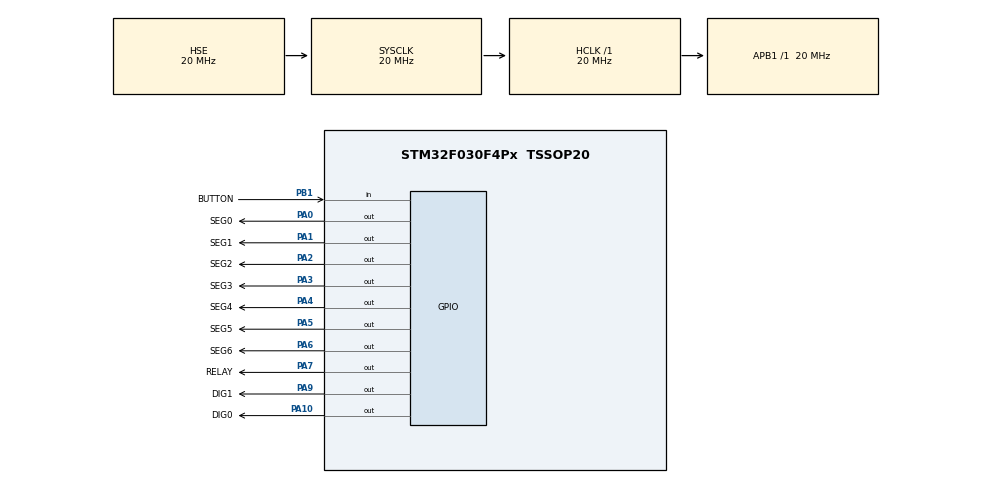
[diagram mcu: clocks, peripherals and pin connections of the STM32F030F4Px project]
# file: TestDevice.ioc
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Mcu.Family=STM32F0
Mcu.Name=STM32F030F4Px
Mcu.Package=TSSOP20
NVIC.TIM14_IRQn=true\:0\:0\:false\:false\:true\:true\:true\:true
PA0.GPIO_Label=SEG0
PA0.PinState=GPIO_PIN_SET
PA0.Signal=GPIO_Output
PA1.GPIO_Label=SEG1
PA1.PinState=GPIO_PIN_SET
PA1.Signal=GPIO_Output
PA10.GPIO_Label=DIG0
PA10.GPIO_PuPd=GPIO_PULLDOWN
PA10.Signal=GPIO_Output
PA13.Mode=Serial_Wire
PA13.Signal=SYS_SWDIO
PA14.Mode=Serial_Wire
PA14.Signal=SYS_SWCLK
PA2.GPIO_Label=SEG2
PA2.PinState=GPIO_PIN_SET
PA2.Signal=GPIO_Output
PA3.GPIO_Label=SEG3
PA3.PinState=GPIO_PIN_SET
PA3.Signal=GPIO_Output
PA4.GPIO_Label=SEG4
PA4.PinState=GPIO_PIN_SET
PA4.Signal=GPIO_Output
PA5.GPIO_Label=SEG5
PA5.PinState=GPIO_PIN_SET
PA5.Signal=GPIO_Output
PA6.GPIO_Label=SEG6
PA6.PinState=GPIO_PIN_SET
PA6.Signal=GPIO_Output
PA7.GPIO_Label=RELAY
PA7.Signal=GPIO_Output
PA9.GPIO_Label=DIG1
PA9.GPIO_PuPd=GPIO_PULLDOWN
PA9.PinState=GPIO_PIN_RESET
PA9.Signal=GPIO_Output
PB1.GPIO_Label=BUTTON
PB1.Signal=GPIO_Input
PF0-OSC_IN.Mode=HSE-External-Oscillator
PF0-OSC_IN.Signal=RCC_OSC_IN
PF1-OSC_OUT.Mode=HSE-External-Oscillator
PF1-OSC_OUT.Signal=RCC_OSC_OUT
ProjectManager.HeapSize=0x200
ProjectManager.StackSize=0x400
ProjectManager.TargetToolchain=STM32CubeIDE
RCC.AHBFreq_Value=20000000
RCC.APB1Freq_Value=20000000
RCC.APB1TimFreq_Value=20000000
RCC.HCLKFreq_Value=20000000
RCC.HSE_VALUE=20000000
RCC.SYSCLKFreq_VALUE=20000000
RCC.SYSCLKSource=RCC_SYSCLKSOURCE_HSE
TIM14.AutoReloadPreload=TIM_AUTORELOAD_PRELOAD_DISABLE
VP_TIM14_VS_ClockSourceINT.Mode=Enable_Timer
board=custom

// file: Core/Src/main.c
/* USER CODE BEGIN Header */
/**
  ******************************************************************************
  * @file           : main.c
  * @brief          : Main program body
  ******************************************************************************
  * @attention
  *
  * Copyright (c) 2026 STMicroelectronics.
  * All rights reserved.
  *
  * This software is licensed under terms that can be found in the LICENSE file
  * in the root directory of this software component.
  * If no LICENSE file comes with this software, it is provided AS-IS.
  *
  ******************************************************************************
  */
/* USER CODE END Header */
#include "main.h"

TIM_HandleTypeDef htim14;

void SystemClock_Config(void);
static void MX_GPIO_Init(void);
static void MX_TIM14_Init(void);

/* USER CODE BEGIN 0 */

static int digitInUse = 0;
static int buttonStatus = 1;
static int buttonPrevStatus = 1;
static int buttonStatusChanged = 0;
static int buttonPressCounter = 0;
static int buttonReleaseCounter = 0;
static int generalCounter = 0;
static int relayCounter = 0;
static int state = 0;
volatile int second = 0;
static const int BUTTON_DEBOUNCE = 1000;

typedef enum
{
	DIGIT_0 = 0,
	DIGIT_1,
	DIGIT_2,
	DIGIT_3,
	DIGIT_4,
	DIGIT_5,
	DIGIT_6,
	DIGIT_7,
	DIGIT_8,
	DIGIT_9
}Digit7Seg_t;

static void printDigit7Seg(Digit7Seg_t digit);
static void Timer_Start(void);
static void Timer_Stop(void);
static int Timer_IsRunning(void);

/* USER CODE END 0 */

int main(void)
{

  /* MCU Configuration--------------------------------------------------------*/

  /* Reset of all peripherals, Initializes the Flash interface and the Systick. */
  HAL_Init();

  /* Configure the system clock */
  SystemClock_Config();

  /* Initialize all configured peripherals */
  MX_GPIO_Init();
  MX_TIM14_Init();
  /* USER CODE BEGIN 2 */
  HAL_GPIO_WritePin(SEG0_GPIO_Port, SEG0_Pin, GPIO_PIN_RESET);
  HAL_GPIO_WritePin(SEG1_GPIO_Port, SEG1_Pin, GPIO_PIN_RESET);
  HAL_GPIO_WritePin(SEG2_GPIO_Port, SEG2_Pin, GPIO_PIN_RESET);
  HAL_GPIO_WritePin(SEG3_GPIO_Port, SEG3_Pin, GPIO_PIN_RESET);
  HAL_GPIO_WritePin(SEG4_GPIO_Port, SEG4_Pin, GPIO_PIN_RESET);
  HAL_GPIO_WritePin(SEG5_GPIO_Port, SEG5_Pin, GPIO_PIN_RESET);
  HAL_GPIO_WritePin(SEG6_GPIO_Port, SEG6_Pin, GPIO_PIN_RESET);
  HAL_GPIO_WritePin(DIG0_GPIO_Port, DIG0_Pin, GPIO_PIN_RESET);
  HAL_GPIO_WritePin(DIG1_GPIO_Port, DIG1_Pin, GPIO_PIN_RESET);
  HAL_GPIO_WritePin(RELAY_GPIO_Port, RELAY_Pin, GPIO_PIN_RESET);

  generalCounter = 60;

  Digit7Seg_t Digit0 = DIGIT_6;
  Digit7Seg_t Digit1 = DIGIT_0;

  /* USER CODE END 2 */

  /* Infinite loop */
  /* USER CODE BEGIN 3 */
  /* USER CODE BEGIN WHILE */
  while (1)
  {
	  if (second)
	  {
		  second = 0;
	  }

	  if(digitInUse)
	  {
		  HAL_GPIO_WritePin(DIG0_GPIO_Port, DIG0_Pin, GPIO_PIN_RESET);
		  HAL_GPIO_WritePin(DIG1_GPIO_Port, DIG1_Pin, GPIO_PIN_RESET);

		  printDigit7Seg(Digit0);

		  HAL_GPIO_WritePin(DIG0_GPIO_Port, DIG0_Pin, GPIO_PIN_SET);
		  HAL_GPIO_WritePin(DIG1_GPIO_Port, DIG1_Pin, GPIO_PIN_RESET);

		  digitInUse = 0;
	  }
	  else
	  {
		  HAL_GPIO_WritePin(DIG0_GPIO_Port, DIG0_Pin, GPIO_PIN_RESET);
		  HAL_GPIO_WritePin(DIG1_GPIO_Port, DIG1_Pin, GPIO_PIN_RESET);

		  printDigit7Seg(Digit1);

		  HAL_GPIO_WritePin(DIG0_GPIO_Port, DIG0_Pin, GPIO_PIN_RESET);
		  HAL_GPIO_WritePin(DIG1_GPIO_Port, DIG1_Pin, GPIO_PIN_SET);

		  digitInUse = 1;
	  }

	  if(GPIO_PIN_SET == HAL_GPIO_ReadPin(BUTTON_GPIO_Port, BUTTON_Pin))
	  {
		  buttonReleaseCounter = 0;

		  if(buttonPressCounter > BUTTON_DEBOUNCE)
		  {
			  buttonStatus = 1;
		  }
		  else{++buttonPressCounter;}
	  }
	  else
	  {
		  buttonPressCounter = 0;

		  if(buttonReleaseCounter > BUTTON_DEBOUNCE)
		  {
			  buttonStatus = 0;
		  }
		  else{++buttonReleaseCounter;}
	  }

	  if(buttonStatus != buttonPrevStatus)
	  {
		  buttonPrevStatus = buttonStatus;
		  buttonStatusChanged = 1;
	  }
	  else{buttonStatusChanged = 0;}

	  switch(state)
	  {
	  	  case 0:
	  	  {
	  		  if(buttonStatusChanged && buttonStatus)
	  		  {
	  			  Digit0 = DIGIT_6;
	  			  Digit1 = DIGIT_0;

	  			  HAL_GPIO_WritePin(RELAY_GPIO_Port, RELAY_Pin, GPIO_PIN_RESET);

	  			  Timer_Stop();

	  			  state = 1;
	  		  }
	  	  }
	  	  break;

	  	  case 1:
	  	  {
	  		  Timer_Start();
	  		  state = 2;
	  	  }
	  	  break;

	  	  case 2:
	  	  {
	  		  if(buttonStatusChanged && buttonStatus){state = 4;}

	  		  if(second)
	  		  {
	  			  second = 0;

	  			  if(Digit1 > DIGIT_0){--Digit1;}
	  			  else if(Digit0 > DIGIT_0)
	  			  {
	  				  --Digit0;
	  				  Digit1 = DIGIT_9;
	  			  }

	  			  if((DIGIT_0 == Digit0) && (DIGIT_0 == Digit1))
	  			  {
	  				  HAL_GPIO_WritePin(RELAY_GPIO_Port, RELAY_Pin, GPIO_PIN_SET);
	  				  relayCounter = 0;
	  				  state = 3;
	  			  }
	  		  }
	  	  }
	  	  break;

	  	  case 3:
	  	  {
	  		  if(second)
	  		  {
	  			  second = 0;
	  			  ++relayCounter;
	  		  }

	  		  if(3 == relayCounter)
	  		  {
	  			  Digit0 = DIGIT_6;
	  			  Digit1 = DIGIT_0;

	  			  HAL_GPIO_WritePin(RELAY_GPIO_Port, RELAY_Pin, GPIO_PIN_RESET);

	  			  Timer_Stop();

	  			  state = 0;
	  		  }
	  	  }
	  	  break;

	  	  case 4:
	  	  {
	  		  Timer_Stop();
	  		  state = 0;
	  	  }
	  	  break;

	  	  default:
	  	  {
	  		  Timer_Stop();

	  		  Digit0 = DIGIT_6;
	  		  Digit1 = DIGIT_0;

	  		  HAL_GPIO_WritePin(RELAY_GPIO_Port, RELAY_Pin, GPIO_PIN_RESET);

	  		  state = 0;
	  	  }
	  	  break;
	  }
  }
  /* USER CODE END WHILE */
  /* USER CODE END 3 */
}

void SystemClock_Config(void)
{
  RCC_OscInitTypeDef RCC_OscInitStruct = {0};
  RCC_ClkInitTypeDef RCC_ClkInitStruct = {0};

  /** Initializes the RCC Oscillators according to the specified parameters
  * in the RCC_OscInitTypeDef structure.
  */
  RCC_OscInitStruct.OscillatorType = RCC_OSCILLATORTYPE_HSE;
  RCC_OscInitStruct.HSEState = RCC_HSE_ON;
  RCC_OscInitStruct.PLL.PLLState = RCC_PLL_NONE;
  if (HAL_RCC_OscConfig(&RCC_OscInitStruct) != HAL_OK)
  {
    Error_Handler();
  }

  /** Initializes the CPU, AHB and APB buses clocks
  */
  RCC_ClkInitStruct.ClockType = RCC_CLOCKTYPE_HCLK|RCC_CLOCKTYPE_SYSCLK
                              |RCC_CLOCKTYPE_PCLK1;
  RCC_ClkInitStruct.SYSCLKSource = RCC_SYSCLKSOURCE_HSE;
  RCC_ClkInitStruct.AHBCLKDivider = RCC_SYSCLK_DIV1;
  RCC_ClkInitStruct.APB1CLKDivider = RCC_HCLK_DIV1;

  if (HAL_RCC_ClockConfig(&RCC_ClkInitStruct, FLASH_LATENCY_0) != HAL_OK)
  {
    Error_Handler();
  }
}

static void MX_TIM14_Init(void)
{

  htim14.Instance = TIM14;
  htim14.Init.Prescaler = 19999;
  htim14.Init.CounterMode = TIM_COUNTERMODE_UP;
  htim14.Init.Period = 999;
  htim14.Init.ClockDivision = TIM_CLOCKDIVISION_DIV1;
  htim14.Init.AutoReloadPreload = TIM_AUTORELOAD_PRELOAD_DISABLE;
  if (HAL_TIM_Base_Init(&htim14) != HAL_OK)
  {
    Error_Handler();
  }

}

static void MX_GPIO_Init(void)
{
  GPIO_InitTypeDef GPIO_InitStruct = {0};

  /* GPIO Ports Clock Enable */
  __HAL_RCC_GPIOF_CLK_ENABLE();
  __HAL_RCC_GPIOA_CLK_ENABLE();
  __HAL_RCC_GPIOB_CLK_ENABLE();

  /*Configure GPIO pin Output Level */
  HAL_GPIO_WritePin(GPIOA, SEG0_Pin|SEG1_Pin|SEG2_Pin|SEG3_Pin
                          |SEG4_Pin|SEG5_Pin|SEG6_Pin, GPIO_PIN_SET);

  /*Configure GPIO pin Output Level */
  HAL_GPIO_WritePin(GPIOA, RELAY_Pin|DIG1_Pin|DIG0_Pin, GPIO_PIN_RESET);

  /*Configure GPIO pins : SEG0_Pin SEG1_Pin SEG2_Pin SEG3_Pin
                           SEG4_Pin SEG5_Pin SEG6_Pin RELAY_Pin */
  GPIO_InitStruct.Pin = SEG0_Pin|SEG1_Pin|SEG2_Pin|SEG3_Pin
                          |SEG4_Pin|SEG5_Pin|SEG6_Pin|RELAY_Pin;
  GPIO_InitStruct.Mode = GPIO_MODE_OUTPUT_PP;
  GPIO_InitStruct.Pull = GPIO_NOPULL;
  GPIO_InitStruct.Speed = GPIO_SPEED_FREQ_LOW;
  HAL_GPIO_Init(GPIOA, &GPIO_InitStruct);

  /*Configure GPIO pin : BUTTON_Pin */
  GPIO_InitStruct.Pin = BUTTON_Pin;
  GPIO_InitStruct.Mode = GPIO_MODE_INPUT;
  GPIO_InitStruct.Pull = GPIO_NOPULL;
  HAL_GPIO_Init(BUTTON_GPIO_Port, &GPIO_InitStruct);

  /*Configure GPIO pins : DIG1_Pin DIG0_Pin */
  GPIO_InitStruct.Pin = DIG1_Pin|DIG0_Pin;
  GPIO_InitStruct.Mode = GPIO_MODE_OUTPUT_PP;
  GPIO_InitStruct.Pull = GPIO_PULLDOWN;
  GPIO_InitStruct.Speed = GPIO_SPEED_FREQ_LOW;
  HAL_GPIO_Init(GPIOA, &GPIO_InitStruct);

}

/* USER CODE BEGIN 4 */
static void printDigit7Seg(Digit7Seg_t digit)
{
	switch(digit)
	{
		case DIGIT_0:
		{
			HAL_GPIO_WritePin(SEG0_GPIO_Port, SEG0_Pin, GPIO_PIN_RESET);
			HAL_GPIO_WritePin(SEG1_GPIO_Port, SEG1_Pin, GPIO_PIN_SET);
			HAL_GPIO_WritePin(SEG2_GPIO_Port, SEG2_Pin, GPIO_PIN_SET);
			HAL_GPIO_WritePin(SEG3_GPIO_Port, SEG3_Pin, GPIO_PIN_SET);
			HAL_GPIO_WritePin(SEG4_GPIO_Port, SEG4_Pin, GPIO_PIN_SET);
			HAL_GPIO_WritePin(SEG5_GPIO_Port, SEG5_Pin, GPIO_PIN_SET);
			HAL_GPIO_WritePin(SEG6_GPIO_Port, SEG6_Pin, GPIO_PIN_SET);
		}
		break;

		case DIGIT_1:
		{
			HAL_GPIO_WritePin(SEG0_GPIO_Port, SEG0_Pin, GPIO_PIN_RESET);
			HAL_GPIO_WritePin(SEG1_GPIO_Port, SEG1_Pin, GPIO_PIN_RESET);
			HAL_GPIO_WritePin(SEG2_GPIO_Port, SEG2_Pin, GPIO_PIN_RESET);
			HAL_GPIO_WritePin(SEG3_GPIO_Port, SEG3_Pin, GPIO_PIN_SET);
			HAL_GPIO_WritePin(SEG4_GPIO_Port, SEG4_Pin, GPIO_PIN_SET);
			HAL_GPIO_WritePin(SEG5_GPIO_Port, SEG5_Pin, GPIO_PIN_RESET);
			HAL_GPIO_WritePin(SEG6_GPIO_Port, SEG6_Pin, GPIO_PIN_RESET);
		}
		break;

		case DIGIT_2:
		{
			HAL_GPIO_WritePin(SEG0_GPIO_Port, SEG0_Pin, GPIO_PIN_SET);
			HAL_GPIO_WritePin(SEG1_GPIO_Port, SEG1_Pin, GPIO_PIN_SET);
			HAL_GPIO_WritePin(SEG2_GPIO_Port, SEG2_Pin, GPIO_PIN_RESET);
			HAL_GPIO_WritePin(SEG3_GPIO_Port, SEG3_Pin, GPIO_PIN_SET);
			HAL_GPIO_WritePin(SEG4_GPIO_Port, SEG4_Pin, GPIO_PIN_RESET);
			HAL_GPIO_WritePin(SEG5_GPIO_Port, SEG5_Pin, GPIO_PIN_SET);
			HAL_GPIO_WritePin(SEG6_GPIO_Port, SEG6_Pin, GPIO_PIN_SET);
		}
		break;

		case DIGIT_3:
		{
			HAL_GPIO_WritePin(SEG0_GPIO_Port, SEG0_Pin, GPIO_PIN_SET);
			HAL_GPIO_WritePin(SEG1_GPIO_Port, SEG1_Pin, GPIO_PIN_SET);
			HAL_GPIO_WritePin(SEG2_GPIO_Port, SEG2_Pin, GPIO_PIN_RESET);
			HAL_GPIO_WritePin(SEG3_GPIO_Port, SEG3_Pin, GPIO_PIN_SET);
			HAL_GPIO_WritePin(SEG4_GPIO_Port, SEG4_Pin, GPIO_PIN_SET);
			HAL_GPIO_WritePin(SEG5_GPIO_Port, SEG5_Pin, GPIO_PIN_RESET);
			HAL_GPIO_WritePin(SEG6_GPIO_Port, SEG6_Pin, GPIO_PIN_SET);
		}
		break;

		case DIGIT_4:
		{
			HAL_GPIO_WritePin(SEG0_GPIO_Port, SEG0_Pin, GPIO_PIN_SET);
			HAL_GPIO_WritePin(SEG1_GPIO_Port, SEG1_Pin, GPIO_PIN_RESET);
			HAL_GPIO_WritePin(SEG2_GPIO_Port, SEG2_Pin, GPIO_PIN_SET);
			HAL_GPIO_WritePin(SEG3_GPIO_Port, SEG3_Pin, GPIO_PIN_SET);
			HAL_GPIO_WritePin(SEG4_GPIO_Port, SEG4_Pin, GPIO_PIN_SET);
			HAL_GPIO_WritePin(SEG5_GPIO_Port, SEG5_Pin, GPIO_PIN_RESET);
			HAL_GPIO_WritePin(SEG6_GPIO_Port, SEG6_Pin, GPIO_PIN_RESET);
		}
		break;

		case DIGIT_5:
		{
			HAL_GPIO_WritePin(SEG0_GPIO_Port, SEG0_Pin, GPIO_PIN_SET);
			HAL_GPIO_WritePin(SEG1_GPIO_Port, SEG1_Pin, GPIO_PIN_SET);
			HAL_GPIO_WritePin(SEG2_GPIO_Port, SEG2_Pin, GPIO_PIN_SET);
			HAL_GPIO_WritePin(SEG3_GPIO_Port, SEG3_Pin, GPIO_PIN_RESET);
			HAL_GPIO_WritePin(SEG4_GPIO_Port, SEG4_Pin, GPIO_PIN_SET);
			HAL_GPIO_WritePin(SEG5_GPIO_Port, SEG5_Pin, GPIO_PIN_RESET);
			HAL_GPIO_WritePin(SEG6_GPIO_Port, SEG6_Pin, GPIO_PIN_SET);
		}
		break;

		case DIGIT_6:
		{
			HAL_GPIO_WritePin(SEG0_GPIO_Port, SEG0_Pin, GPIO_PIN_SET);
			HAL_GPIO_WritePin(SEG1_GPIO_Port, SEG1_Pin, GPIO_PIN_SET);
			HAL_GPIO_WritePin(SEG2_GPIO_Port, SEG2_Pin, GPIO_PIN_SET);
			HAL_GPIO_WritePin(SEG3_GPIO_Port, SEG3_Pin, GPIO_PIN_RESET);
			HAL_GPIO_WritePin(SEG4_GPIO_Port, SEG4_Pin, GPIO_PIN_SET);
			HAL_GPIO_WritePin(SEG5_GPIO_Port, SEG5_Pin, GPIO_PIN_SET);
			HAL_GPIO_WritePin(SEG6_GPIO_Port, SEG6_Pin, GPIO_PIN_SET);
		}
		break;

		case DIGIT_7:
		{
			HAL_GPIO_WritePin(SEG0_GPIO_Port, SEG0_Pin, GPIO_PIN_RESET);
			HAL_GPIO_WritePin(SEG1_GPIO_Port, SEG1_Pin, GPIO_PIN_SET);
			HAL_GPIO_WritePin(SEG2_GPIO_Port, SEG2_Pin, GPIO_PIN_RESET);
			HAL_GPIO_WritePin(SEG3_GPIO_Port, SEG3_Pin, GPIO_PIN_SET);
			HAL_GPIO_WritePin(SEG4_GPIO_Port, SEG4_Pin, GPIO_PIN_SET);
			HAL_GPIO_WritePin(SEG5_GPIO_Port, SEG5_Pin, GPIO_PIN_RESET);
			HAL_GPIO_WritePin(SEG6_GPIO_Port, SEG6_Pin, GPIO_PIN_RESET);
		}
		break;

		case DIGIT_8:
		{
			HAL_GPIO_WritePin(SEG0_GPIO_Port, SEG0_Pin, GPIO_PIN_SET);
			HAL_GPIO_WritePin(SEG1_GPIO_Port, SEG1_Pin, GPIO_PIN_SET);
			HAL_GPIO_WritePin(SEG2_GPIO_Port, SEG2_Pin, GPIO_PIN_SET);
			HAL_GPIO_WritePin(SEG3_GPIO_Port, SEG3_Pin, GPIO_PIN_SET);
			HAL_GPIO_WritePin(SEG4_GPIO_Port, SEG4_Pin, GPIO_PIN_SET);
			HAL_GPIO_WritePin(SEG5_GPIO_Port, SEG5_Pin, GPIO_PIN_SET);
			HAL_GPIO_WritePin(SEG6_GPIO_Port, SEG6_Pin, GPIO_PIN_SET);
		}
		break;

		case DIGIT_9:
		{
			HAL_GPIO_WritePin(SEG0_GPIO_Port, SEG0_Pin, GPIO_PIN_SET);
			HAL_GPIO_WritePin(SEG1_GPIO_Port, SEG1_Pin, GPIO_PIN_SET);
			HAL_GPIO_WritePin(SEG2_GPIO_Port, SEG2_Pin, GPIO_PIN_SET);
			HAL_GPIO_WritePin(SEG3_GPIO_Port, SEG3_Pin, GPIO_PIN_SET);
			HAL_GPIO_WritePin(SEG4_GPIO_Port, SEG4_Pin, GPIO_PIN_SET);
			HAL_GPIO_WritePin(SEG5_GPIO_Port, SEG5_Pin, GPIO_PIN_RESET);
			HAL_GPIO_WritePin(SEG6_GPIO_Port, SEG6_Pin, GPIO_PIN_SET);
		}
		break;
	}
}

void HAL_TIM_PeriodElapsedCallback(TIM_HandleTypeDef *htim)
{
    if(htim->Instance == TIM14){second = 1;}
}

static void Timer_Start(void)
{
    __HAL_TIM_SET_COUNTER(&htim14, 0);
    HAL_TIM_Base_Start_IT(&htim14);
}

static void Timer_Stop(void)
{
    HAL_TIM_Base_Stop_IT(&htim14);
    __HAL_TIM_SET_COUNTER(&htim14, 0);
}

static int Timer_IsRunning(void)
{
    return (htim14.Instance->CR1 & TIM_CR1_CEN) != 0;
}

/* USER CODE END 4 */

void Error_Handler(void)
{
  __disable_irq();
  while (1)
  {
  }
}
